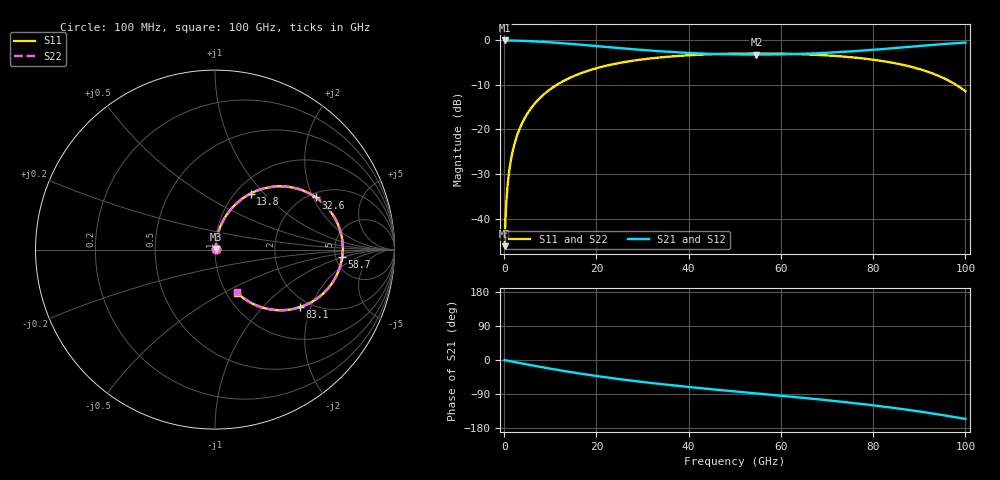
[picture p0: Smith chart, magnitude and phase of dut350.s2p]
! Touchstone file exported from HFSS 2026.1.0
!  File:  C:/ffzhzh/LocalFiles/Ansys_Project_Files/temp_train_RDL_350_1783503194_9504.aedt
!  Generated:  05:34:52 PM Jul  8, 2026
!  Design:  RDL
!  Project:  temp_train_RDL_350_1783503194_9504
! Variables:
!  h_bsmrdl = 2um
!  h_ox = 20um
!  h_rdl = 5um
!  h_sub = 80um
!  h_tmrdl = 4.7um
!  h_tsv = 80um
!  h_via = 3um
!  l_bsmrdl = 300um
!  l_sub = 943.5um
!  l_tmrdl = 543.5um
!  m_sub = 200um
!  pitch = 50.32um
!  r_tsv = 6um
!  s_tmrdl = 10um
!  w_bsmrdl = 18um
!  w_sub = 500um
!  w_tmrdl = 11.03um
!  x_tsv_center1 = 549.015um
!  x_tsv_center2 = 867.015um
!  x_tsv_center3 = 1421.545um
!  x_tsv_center4 = 1739.545um
!  x_tsv_center5 = 2294.075um
!  x_tsv_center6 = 2612.075um
# GHz S MA R 50.000000
! Terminal data exported
! Port[1] = TM_RDL1_1_T1
! Port[2] = TM_RDL1_1_T2
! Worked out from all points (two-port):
!   1000 points, 100 MHz to 100 GHz, reference 50 ohm
!   highest |S21| = -0.03 dB at 100 MHz (marker M1); lowest = -3.2 dB at 54.7 GHz (marker M2)
!   |S21| within 3 dB of the highest: start of sweep to 44.71 GHz; 64.7 GHz to end of sweep
!   lowest |S11| = -46.2 dB at 100 MHz (marker M3), VSWR 1.01, Z = 50.4 + j0.317 ohm
!   |S11| at or under -10 dB: start of sweep to 11.4 GHz; 98 GHz to end of sweep
!   |S22| runs from -46.2 to -2.9 dB; largest |S21 - S12| = 1.6e-14
!   S11 on the Smith chart (normalised r, x): 100 MHz: 1.01, +0.01; 13.8 GHz: 1.17, +0.84; 32.6 GHz: 2.17, +2.11; 58.7 GHz: 5.74, -0.94; 83.1 GHz: 1.78, -1.69; 100 GHz: 1.12, -0.58
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0.1  0.004902 40.0  0.9963 -0.2  0.9963 -0.2  0.004902 40.0
! Gamma 0 0 0 0
! Port Impedance 50 0 50 0
0.8  0.02513 78.5  0.9955 -1.9  0.9955 -1.9  0.02513 78.5
1.3  0.04026 80.6  0.9948 -3.1  0.9948 -3.1  0.04026 80.6
2.2  0.06745 80.6  0.9929 -5.3  0.9929 -5.3  0.06745 80.6
3.4  0.1032 78.8  0.9891 -8.1  0.9891 -8.1  0.1032 78.8
5.1  0.1525 75.4  0.9815 -12.0  0.9815 -12.0  0.1525 75.4
7.4  0.2158 70.5  0.968 -17.2  0.968 -17.2  0.2158 70.5
10.3  0.2899 64.5  0.947 -23.5  0.947 -23.5  0.2899 64.5
13.8  0.37 57.6  0.9177 -30.7  0.9177 -30.7  0.37 57.6
16.8  0.4302 52.0  0.8908 -36.4  0.8908 -36.4  0.4302 52.0
24  0.5444 39.8  0.8263 -48.9  0.8263 -48.9  0.5444 39.8
32.6  0.6333 27.3  0.7615 -61.6  0.7615 -61.6  0.6333 27.3
33.4  0.6395 26.2  0.7565 -62.7  0.7565 -62.7  0.6395 26.2
50.1  0.709 6.3  0.694 -83.1  0.694 -83.1  0.709 6.3
54.7  0.7122 1.1  0.691 -88.3  0.691 -88.3  0.7122 1.2
58.7  0.71 -3.3  0.6933 -92.8  0.6933 -92.8  0.71 -3.3
66.7  0.6911 -12.4  0.7116 -102.1  0.7116 -102.1  0.6911 -12.4
75  0.6475 -22.7  0.75 -112.6  0.75 -112.6  0.6475 -22.6
83.1  0.5731 -34.0  0.8057 -124.3  0.8057 -124.3  0.5731 -33.9
83.4  0.5696 -34.4  0.808 -124.8  0.808 -124.8  0.5696 -34.4
92.8  0.4263 -49.9  0.8875 -141.0  0.8875 -141.0  0.4263 -49.8
100  0.2682 -63.0  0.9434 -155.6  0.9434 -155.6  0.2682 -62.9
